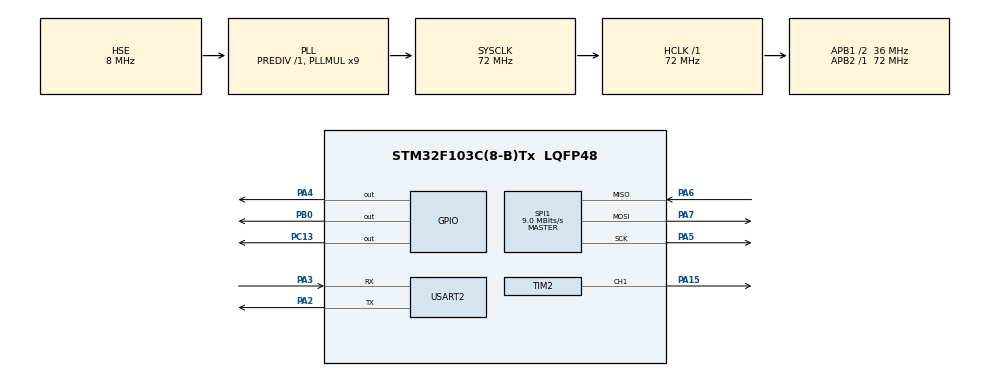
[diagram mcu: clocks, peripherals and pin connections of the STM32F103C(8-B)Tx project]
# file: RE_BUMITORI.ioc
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Mcu.Family=STM32F1
Mcu.Name=STM32F103C(8-B)Tx
Mcu.Package=LQFP48
NVIC.PriorityGroup=NVIC_PRIORITYGROUP_4
PA13.Mode=Serial_Wire
PA13.Signal=SYS_JTMS-SWDIO
PA14.Mode=Serial_Wire
PA14.Signal=SYS_JTCK-SWCLK
PA15.Signal=S_TIM2_CH1_ETR
PA2.Mode=Asynchronous
PA2.Signal=USART2_TX
PA3.Mode=Asynchronous
PA3.Signal=USART2_RX
PA4.Signal=GPIO_Output
PA5.Mode=Full_Duplex_Master
PA5.Signal=SPI1_SCK
PA6.Mode=Full_Duplex_Master
PA6.Signal=SPI1_MISO
PA7.Mode=Full_Duplex_Master
PA7.Signal=SPI1_MOSI
PB0.Signal=GPIO_Output
PC13-TAMPER-RTC.Signal=GPIO_Output
PC14-OSC32_IN.Mode=LSE-External-Oscillator
PC14-OSC32_IN.Signal=RCC_OSC32_IN
PC15-OSC32_OUT.Mode=LSE-External-Oscillator
PC15-OSC32_OUT.Signal=RCC_OSC32_OUT
PD0-OSC_IN.Mode=HSE-External-Oscillator
PD0-OSC_IN.Signal=RCC_OSC_IN
PD1-OSC_OUT.Mode=HSE-External-Oscillator
PD1-OSC_OUT.Signal=RCC_OSC_OUT
ProjectManager.HeapSize=0x200
ProjectManager.StackSize=0x400
ProjectManager.TargetToolchain=STM32CubeIDE
RCC.AHBFreq_Value=72000000
RCC.APB1CLKDivider=RCC_HCLK_DIV2
RCC.APB1Freq_Value=36000000
RCC.APB1TimFreq_Value=72000000
RCC.APB2Freq_Value=72000000
RCC.APB2TimFreq_Value=72000000
RCC.HCLKFreq_Value=72000000
RCC.PLLMUL=RCC_PLL_MUL9
RCC.PLLSourceVirtual=RCC_PLLSOURCE_HSE
RCC.SYSCLKFreq_VALUE=72000000
RCC.SYSCLKSource=RCC_SYSCLKSOURCE_PLLCLK
RCC.USBFreq_Value=72000000
SH.S_TIM2_CH1_ETR.0=TIM2_CH1,PWM Generation1 CH1
SPI1.BaudRatePrescaler=SPI_BAUDRATEPRESCALER_8
SPI1.CalculateBaudRate=9.0 MBits/s
SPI1.Direction=SPI_DIRECTION_2LINES
SPI1.Mode=SPI_MODE_MASTER
SPI1.VirtualType=VM_MASTER
TIM2.Channel-PWM\ Generation1\ CH1=TIM_CHANNEL_1
TIM2.Prescaler=72-1
USART2.VirtualMode=VM_ASYNC
board=custom

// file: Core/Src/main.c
/* USER CODE BEGIN Header */
/**
  ******************************************************************************
  * @file           : main.c
  * @brief          : Main program body
  ******************************************************************************
  * @attention
  *
  * Copyright (c) 2025 STMicroelectronics.
  * All rights reserved.
  *
  * This software is licensed under terms that can be found in the LICENSE file
  * in the root directory of this software component.
  * If no LICENSE file comes with this software, it is provided AS-IS.
  *
  ******************************************************************************
  */
/* USER CODE END Header */
#include "main.h"

/* USER CODE BEGIN Includes */
#include "rc522.h"
#include "string.h"
#include "stdio.h"
/* USER CODE END Includes */

SPI_HandleTypeDef hspi1;

TIM_HandleTypeDef htim2;

UART_HandleTypeDef huart2;

/* USER CODE BEGIN PV */
uint8_t status;
uint8_t str[MAX_LEN]; // Max_LEN = 16
uint8_t sNum[5];
char rfidString[30];
/* USER CODE END PV */

void SystemClock_Config(void);
static void MX_GPIO_Init(void);
static void MX_SPI1_Init(void);
static void MX_USART2_UART_Init(void);
static void MX_TIM2_Init(void);

/* USER CODE BEGIN 0 */
int __io_putchar(int ch) {
   HAL_UART_Transmit(&huart2, (uint8_t *)&ch, 1, 1000);
   if (ch == '\n') {
      HAL_UART_Transmit(&huart2, (uint8_t *)"\r", 1, 1000);
   }
   return ch;
}

/* USER CODE END 0 */

int main(void)
{

  /* MCU Configuration--------------------------------------------------------*/

  /* Reset of all peripherals, Initializes the Flash interface and the Systick. */
  HAL_Init();

  /* Configure the system clock */
  SystemClock_Config();

  /* Initialize all configured peripherals */
  MX_GPIO_Init();
  MX_SPI1_Init();
  MX_USART2_UART_Init();
  MX_TIM2_Init();
  /* USER CODE BEGIN 2 */
  MFRC522_Init();
  HAL_GPIO_WritePin(GPIOC, GPIO_PIN_13, GPIO_PIN_SET);
  __HAL_TIM_SET_AUTORELOAD(&htim2, 999);
    __HAL_TIM_SET_COMPARE(&htim2, TIM_CHANNEL_1, 500);

  /* USER CODE END 2 */

  /* Infinite loop */
  /* USER CODE BEGIN WHILE */
  while (1)
  {
	  /*
	  status = MFRC522_Request(PICC_REQIDL, str);
		status = MFRC522_Anticoll(str);
		memcpy(sNum, str, 5);
		HAL_Delay(100);
		uint8_t calculatedBCC = str[0] ^ str[1] ^ str[2] ^ str[3];
			    if (calculatedBCC == str[4]) {
			    	sprintf(rfidString, "%03d%03d%03d%03d", str[0], str[1], str[2], str[3], str[4]);
			    	printf("%s", rfidString);
			    	fflush(stdout);
			    	HAL_GPIO_WritePin(GPIOC, GPIO_PIN_13, GPIO_PIN_SET);
			    }
			    HAL_Delay(500);
			    HAL_GPIO_WritePin(GPIOC, GPIO_PIN_13, GPIO_PIN_RESET);
			    */
	  HAL_TIM_PWM_Start(&htim2, TIM_CHANNEL_1);
	  HAL_Delay(500);
	  HAL_TIM_PWM_Stop(&htim2, TIM_CHANNEL_1);
	  HAL_Delay(5000);
    /* USER CODE END WHILE */

  }
}

void SystemClock_Config(void)
{
  RCC_OscInitTypeDef RCC_OscInitStruct = {0};
  RCC_ClkInitTypeDef RCC_ClkInitStruct = {0};

  /** Initializes the RCC Oscillators according to the specified parameters
  * in the RCC_OscInitTypeDef structure.
  */
  RCC_OscInitStruct.OscillatorType = RCC_OSCILLATORTYPE_HSE;
  RCC_OscInitStruct.HSEState = RCC_HSE_ON;
  RCC_OscInitStruct.HSEPredivValue = RCC_HSE_PREDIV_DIV1;
  RCC_OscInitStruct.HSIState = RCC_HSI_ON;
  RCC_OscInitStruct.PLL.PLLState = RCC_PLL_ON;
  RCC_OscInitStruct.PLL.PLLSource = RCC_PLLSOURCE_HSE;
  RCC_OscInitStruct.PLL.PLLMUL = RCC_PLL_MUL9;
  if (HAL_RCC_OscConfig(&RCC_OscInitStruct) != HAL_OK)
  {
    Error_Handler();
  }

  /** Initializes the CPU, AHB and APB buses clocks
  */
  RCC_ClkInitStruct.ClockType = RCC_CLOCKTYPE_HCLK|RCC_CLOCKTYPE_SYSCLK
                              |RCC_CLOCKTYPE_PCLK1|RCC_CLOCKTYPE_PCLK2;
  RCC_ClkInitStruct.SYSCLKSource = RCC_SYSCLKSOURCE_PLLCLK;
  RCC_ClkInitStruct.AHBCLKDivider = RCC_SYSCLK_DIV1;
  RCC_ClkInitStruct.APB1CLKDivider = RCC_HCLK_DIV2;
  RCC_ClkInitStruct.APB2CLKDivider = RCC_HCLK_DIV1;

  if (HAL_RCC_ClockConfig(&RCC_ClkInitStruct, FLASH_LATENCY_2) != HAL_OK)
  {
    Error_Handler();
  }
}

static void MX_SPI1_Init(void)
{

  /* SPI1 parameter configuration*/
  hspi1.Instance = SPI1;
  hspi1.Init.Mode = SPI_MODE_MASTER;
  hspi1.Init.Direction = SPI_DIRECTION_2LINES;
  hspi1.Init.DataSize = SPI_DATASIZE_8BIT;
  hspi1.Init.CLKPolarity = SPI_POLARITY_LOW;
  hspi1.Init.CLKPhase = SPI_PHASE_1EDGE;
  hspi1.Init.NSS = SPI_NSS_SOFT;
  hspi1.Init.BaudRatePrescaler = SPI_BAUDRATEPRESCALER_8;
  hspi1.Init.FirstBit = SPI_FIRSTBIT_MSB;
  hspi1.Init.TIMode = SPI_TIMODE_DISABLE;
  hspi1.Init.CRCCalculation = SPI_CRCCALCULATION_DISABLE;
  hspi1.Init.CRCPolynomial = 10;
  if (HAL_SPI_Init(&hspi1) != HAL_OK)
  {
    Error_Handler();
  }

}

static void MX_TIM2_Init(void)
{

  TIM_MasterConfigTypeDef sMasterConfig = {0};
  TIM_OC_InitTypeDef sConfigOC = {0};

  htim2.Instance = TIM2;
  htim2.Init.Prescaler = 72-1;
  htim2.Init.CounterMode = TIM_COUNTERMODE_UP;
  htim2.Init.Period = 65535;
  htim2.Init.ClockDivision = TIM_CLOCKDIVISION_DIV1;
  htim2.Init.AutoReloadPreload = TIM_AUTORELOAD_PRELOAD_DISABLE;
  if (HAL_TIM_PWM_Init(&htim2) != HAL_OK)
  {
    Error_Handler();
  }
  sMasterConfig.MasterOutputTrigger = TIM_TRGO_RESET;
  sMasterConfig.MasterSlaveMode = TIM_MASTERSLAVEMODE_DISABLE;
  if (HAL_TIMEx_MasterConfigSynchronization(&htim2, &sMasterConfig) != HAL_OK)
  {
    Error_Handler();
  }
  sConfigOC.OCMode = TIM_OCMODE_PWM1;
  sConfigOC.Pulse = 0;
  sConfigOC.OCPolarity = TIM_OCPOLARITY_HIGH;
  sConfigOC.OCFastMode = TIM_OCFAST_DISABLE;
  if (HAL_TIM_PWM_ConfigChannel(&htim2, &sConfigOC, TIM_CHANNEL_1) != HAL_OK)
  {
    Error_Handler();
  }
  HAL_TIM_MspPostInit(&htim2);

}

static void MX_USART2_UART_Init(void)
{

  huart2.Instance = USART2;
  huart2.Init.BaudRate = 115200;
  huart2.Init.WordLength = UART_WORDLENGTH_8B;
  huart2.Init.StopBits = UART_STOPBITS_1;
  huart2.Init.Parity = UART_PARITY_NONE;
  huart2.Init.Mode = UART_MODE_TX_RX;
  huart2.Init.HwFlowCtl = UART_HWCONTROL_NONE;
  huart2.Init.OverSampling = UART_OVERSAMPLING_16;
  if (HAL_UART_Init(&huart2) != HAL_OK)
  {
    Error_Handler();
  }

}

static void MX_GPIO_Init(void)
{
  GPIO_InitTypeDef GPIO_InitStruct = {0};

  /* GPIO Ports Clock Enable */
  __HAL_RCC_GPIOC_CLK_ENABLE();
  __HAL_RCC_GPIOD_CLK_ENABLE();
  __HAL_RCC_GPIOA_CLK_ENABLE();
  __HAL_RCC_GPIOB_CLK_ENABLE();

  /*Configure GPIO pin Output Level */
  HAL_GPIO_WritePin(GPIOC, GPIO_PIN_13, GPIO_PIN_RESET);

  /*Configure GPIO pin Output Level */
  HAL_GPIO_WritePin(GPIOA, GPIO_PIN_4, GPIO_PIN_RESET);

  /*Configure GPIO pin Output Level */
  HAL_GPIO_WritePin(GPIOB, GPIO_PIN_0, GPIO_PIN_RESET);

  /*Configure GPIO pin : PC13 */
  GPIO_InitStruct.Pin = GPIO_PIN_13;
  GPIO_InitStruct.Mode = GPIO_MODE_OUTPUT_PP;
  GPIO_InitStruct.Pull = GPIO_NOPULL;
  GPIO_InitStruct.Speed = GPIO_SPEED_FREQ_LOW;
  HAL_GPIO_Init(GPIOC, &GPIO_InitStruct);

  /*Configure GPIO pin : PA4 */
  GPIO_InitStruct.Pin = GPIO_PIN_4;
  GPIO_InitStruct.Mode = GPIO_MODE_OUTPUT_PP;
  GPIO_InitStruct.Pull = GPIO_NOPULL;
  GPIO_InitStruct.Speed = GPIO_SPEED_FREQ_LOW;
  HAL_GPIO_Init(GPIOA, &GPIO_InitStruct);

  /*Configure GPIO pin : PB0 */
  GPIO_InitStruct.Pin = GPIO_PIN_0;
  GPIO_InitStruct.Mode = GPIO_MODE_OUTPUT_PP;
  GPIO_InitStruct.Pull = GPIO_NOPULL;
  GPIO_InitStruct.Speed = GPIO_SPEED_FREQ_LOW;
  HAL_GPIO_Init(GPIOB, &GPIO_InitStruct);

}

void Error_Handler(void)
{
  __disable_irq();
  while (1)
  {
  }
}
